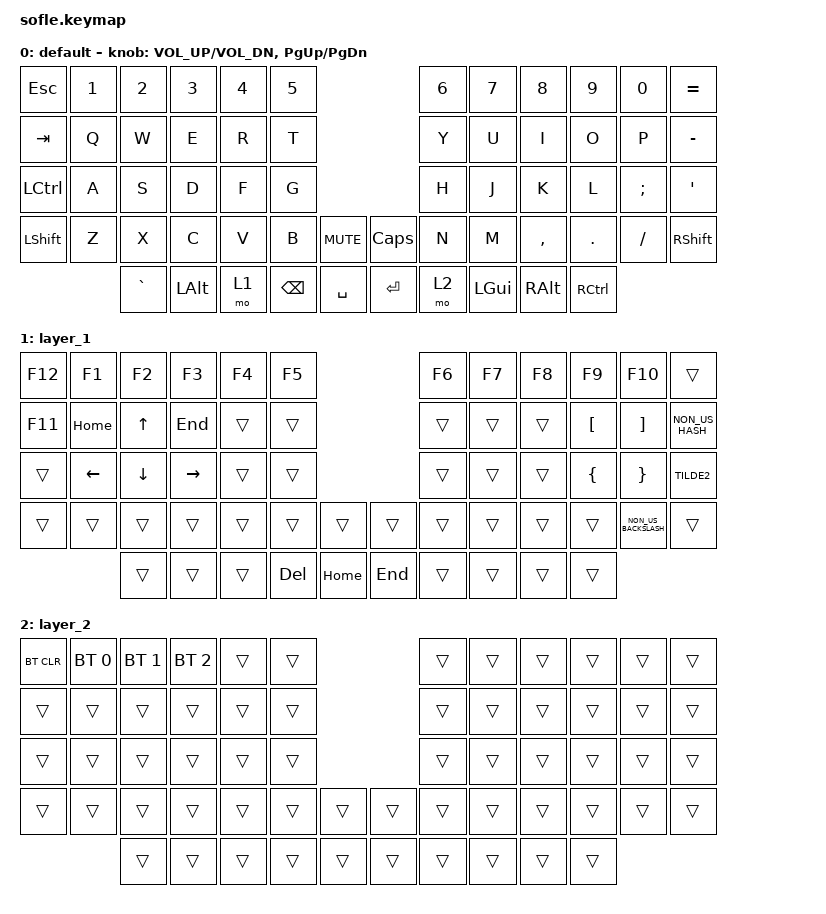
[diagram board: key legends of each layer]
/*
 * Copyright (c) 2020 The ZMK Contributors
 *
 * SPDX-License-Identifier: MIT
 */

#include <behaviors.dtsi>
#include <dt-bindings/zmk/bt.h>
#include <dt-bindings/zmk/keys.h>

#define BASE 0
#define LOWER 1
#define RAISE 2
#define ADJUST 3

/ {
    // Activate ADJUST layer by pressing raise and lower

    conditional_layers {
        compatible = "zmk,conditional-layers";

        adjust_layer {
            if-layers = <2 2>;
            then-layer = <3>;
        };
    };

    keymap {
        compatible = "zmk,keymap";

        default_layer {
            display-name = "default";

            // ------------------------------------------------------------------------------------------------------------
            // |   `   |  1  |  2  |  3   |  4   |  5   |                   |  6   |  7    |  8    |  9   |   0   |       |
            // |  ESC  |  Q  |  W  |  E   |  R   |  T   |                   |  Y   |  U    |  I    |  O   |   P   | BKSPC |
            // |  TAB  |  A  |  S  |  D   |  F   |  G   |                   |  H   |  J    |  K    |  L   |   ;   |   '   |
            // | SHIFT |  Z  |  X  |  C   |  V   |  B   |  MUTE  |  |       |  N   |  M    |  ,    |  .   |   /   | SHIFT |
            //               | GUI | ALT  | CTRL | LOWER|  ENTER |  | SPACE | RAISE| CTRL  | ALT   | GUI  |

            bindings = <
&kp ESCAPE  &kp N1  &kp N2     &kp N3    &kp N4  &kp N5                                     &kp N6  &kp N7        &kp N8         &kp N9     &kp N0    &kp EQUAL
&kp TAB     &kp Q   &kp W      &kp E     &kp R   &kp T                                      &kp Y   &kp U         &kp I          &kp O      &kp P     &kp MINUS
&kp LCTRL   &kp A   &kp S      &kp D     &kp F   &kp G                                      &kp H   &kp J         &kp K          &kp L      &kp SEMI  &kp SINGLE_QUOTE
&kp LSHFT   &kp Z   &kp X      &kp C     &kp V   &kp B          &kp C_MUTE    &kp CAPSLOCK  &kp N   &kp M         &kp COMMA      &kp DOT    &kp FSLH  &kp RSHFT
                    &kp GRAVE  &kp LALT  &mo 1   &kp BACKSPACE  &kp SPACE     &kp ENTER     &mo 2   &kp LEFT_GUI  &kp RIGHT_ALT  &kp RCTRL
            >;

            sensor-bindings =
                <&inc_dec_kp C_VOLUME_UP C_VOL_DN>,
                <&inc_dec_kp PG_UP PAGE_DOWN>;
        };

        layer_1 {
            bindings = <
&kp F12  &kp F1          &kp F2          &kp F3           &kp F4  &kp F5                        &kp F6  &kp F7  &kp F8  &kp F9            &kp F10               &trans
&kp F11  &kp HOME        &kp UP_ARROW    &kp END          &trans  &trans                        &trans  &trans  &trans  &kp LEFT_BRACKET  &kp RIGHT_BRACKET     &kp NON_US_HASH
&trans   &kp LEFT_ARROW  &kp DOWN_ARROW  &kp RIGHT_ARROW  &trans  &trans                        &trans  &trans  &trans  &kp LEFT_BRACE    &kp RIGHT_BRACE       &kp TILDE2
&trans   &trans          &trans          &trans           &trans  &trans   &trans      &trans   &trans  &trans  &trans  &trans            &kp NON_US_BACKSLASH  &trans
                         &trans          &trans           &trans  &kp DEL  &kp HOME    &kp END  &trans  &trans  &trans  &trans
            >;
        };

        layer_2 {
            bindings = <
&bt BT_CLR  &bt BT_SEL 0  &bt BT_SEL 1  &bt BT_SEL 2  &trans  &trans                    &trans  &trans  &trans  &trans  &trans  &trans
&trans      &trans        &trans        &trans        &trans  &trans                    &trans  &trans  &trans  &trans  &trans  &trans
&trans      &trans        &trans        &trans        &trans  &trans                    &trans  &trans  &trans  &trans  &trans  &trans
&trans      &trans        &trans        &trans        &trans  &trans  &trans    &trans  &trans  &trans  &trans  &trans  &trans  &trans
                          &trans        &trans        &trans  &trans  &trans    &trans  &trans  &trans  &trans  &trans
            >;
        };
    };
};
